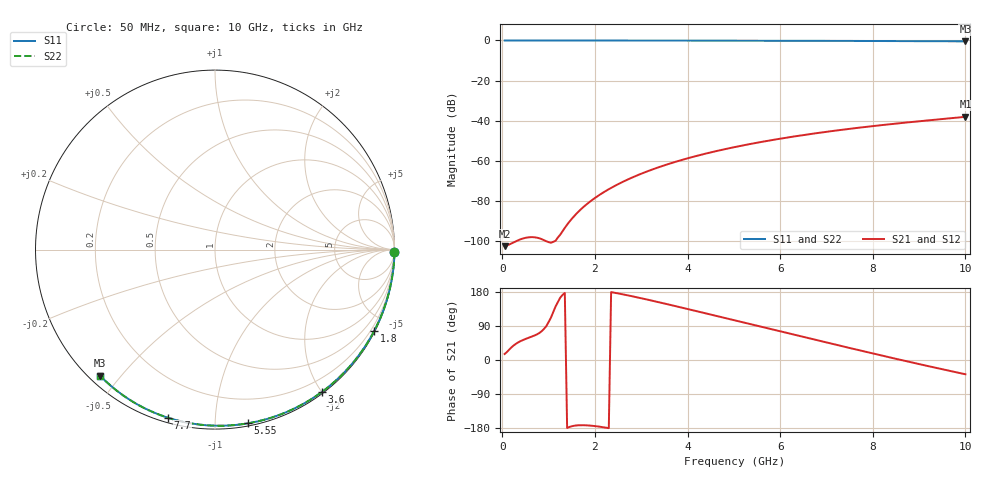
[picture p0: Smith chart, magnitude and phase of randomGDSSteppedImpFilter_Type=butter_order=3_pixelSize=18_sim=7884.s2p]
! freq	dB(S11)	phase(S11)	dB(S12)	phase(S12)
!  dB(S21)	phase(S21)	dB(S22)	phase(S22)
!S-par simulation data
#  GHz  S  DB  R 50
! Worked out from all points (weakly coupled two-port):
!   200 points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, 50 MHz to 10 GHz, reference 50 ohm
!   highest |S21| = -38.05 dB at 10 GHz (marker M1); lowest = -102.5 dB at 50 MHz (marker M2)
!   lowest |S11| = -0.4 dB at 10 GHz (marker M3), VSWR 39.38, Z = 1.52 - j22.1 ohm
!   |S11| at or under -10 dB: nowhere
!   |S22| runs from -0.4 to 0.0 dB; largest |S21 - S12| = 0
!   S11 on the Smith chart (normalised r, x): 50 MHz: open; 1.8 GHz: 0.04, -4.15; 3.6 GHz: 0.02, -2.01; 5.55 GHz: 0.02, -1.21; 7.7 GHz: 0.02, -0.76; 10 GHz: 0.03, -0.44
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0.05  -0.00 -0.8  -102.49 15.8  -102.49 15.8  -0.00 -0.8
0.45  -0.01 -6.9  -98.64 52.9  -98.64 52.9  -0.01 -6.9
0.9  -0.02 -13.7  -99.51 82.0  -99.51 82.0  -0.02 -13.7
1.3  -0.02 -19.7  -95.06 171.6  -95.06 171.6  -0.02 -19.7
1.75  -0.03 -26.4  -83.02 -172.1  -83.02 -172.1  -0.03 -26.4
1.8  -0.03 -27.1  -82.03 -172.3  -82.03 -172.3  -0.03 -27.1
1.9  -0.04 -28.6  -80.18 -173.1  -80.18 -173.1  -0.04 -28.6
2.25  -0.04 -33.7  -74.77 -178.8  -74.77 -178.8  -0.04 -33.7
2.55  -0.05 -38.1  -71.02 174.5  -71.02 174.5  -0.05 -38.1
2.95  -0.06 -43.8  -66.86 164.4  -66.86 164.4  -0.06 -43.8
3.4  -0.07 -50.2  -62.98 151.9  -62.98 151.9  -0.07 -50.2
3.6  -0.07 -53.0  -61.46 146.2  -61.46 146.2  -0.07 -53.0
3.9  -0.08 -57.2  -59.38 137.5  -59.38 137.5  -0.08 -57.2
4.3  -0.09 -62.6  -56.90 125.8  -56.90 125.8  -0.09 -62.6
5.05  -0.11 -72.7  -52.97 103.6  -52.97 103.6  -0.11 -72.7
5.55  -0.13 -79.2  -50.74 88.8  -50.74 88.8  -0.13 -79.2
6.1  -0.15 -86.2  -48.57 72.6  -48.57 72.6  -0.15 -86.2
6.7  -0.18 -93.6  -46.47 55.0  -46.47 55.0  -0.18 -93.6
7.7  -0.24 -105.7  -43.47 25.9  -43.47 25.9  -0.24 -105.7
8.35  -0.29 -113.3  -41.79 7.4  -41.79 7.4  -0.29 -113.3
9.15  -0.36 -122.6  -39.92 -14.9  -39.92 -14.9  -0.36 -122.6
10  -0.44 -132.3  -38.05 -37.6  -38.05 -37.6  -0.44 -132.3
